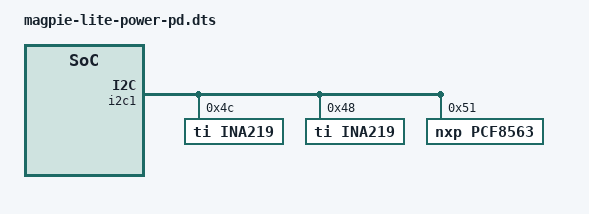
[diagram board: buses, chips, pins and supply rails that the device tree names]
#include "magpie-lite-hx8399c.dts"

&i2c1 {
    ina219@4c {
        compatible = "ti,ina219";
        reg = <0x4c>;
        shunt-resistor = <10000>;
    };

    ina219@48 {
        compatible = "ti,ina219";
        reg = <0x48>;
        shunt-resistor = <10000>;
    };

    pcf8563@51 {
        compatible = "nxp,pcf8563";
        reg = <0x51>;
    };
};
